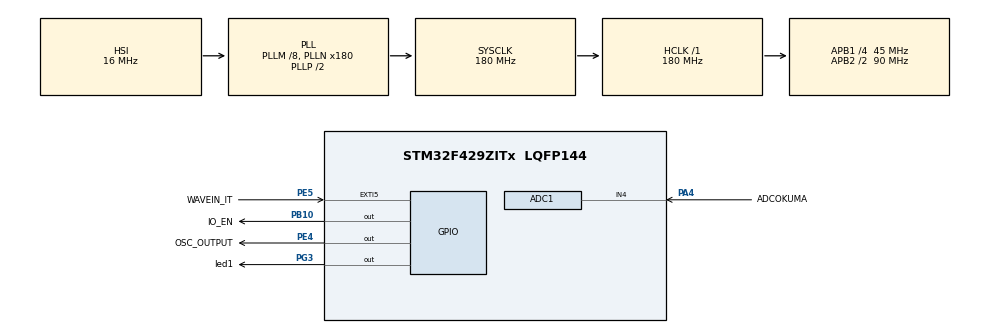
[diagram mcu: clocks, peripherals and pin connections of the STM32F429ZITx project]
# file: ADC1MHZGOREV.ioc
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ADC1.Channel-0\#ChannelRegularConversion=ADC_CHANNEL_4
ADC1.ContinuousConvMode=ENABLE
ADC1.NbrOfConversionFlag=1
ADC1.Rank-0\#ChannelRegularConversion=1
ADC1.SamplingTime-0\#ChannelRegularConversion=ADC_SAMPLETIME_3CYCLES
ADC1.master=1
Mcu.Family=STM32F4
Mcu.Name=STM32F429ZITx
Mcu.Package=LQFP144
NVIC.EXTI9_5_IRQn=true\:0\:0\:false\:false\:true\:true\:true\:true
NVIC.PriorityGroup=NVIC_PRIORITYGROUP_4
PA4.GPIO_Label=ADCOKUMA
PA4.Signal=ADCx_IN4
PB10.GPIO_Label=IO_EN
PB10.Signal=GPIO_Output
PE4.GPIO_Label=OSC_OUTPUT
PE4.PinState=GPIO_PIN_SET
PE4.Signal=GPIO_Output
PE5.GPIO_Label=WAVEIN_IT
PE5.GPIO_ModeDefaultEXTI=GPIO_MODE_IT_RISING_FALLING
PE5.Signal=GPXTI5
PG3.GPIO_Label=led1
PG3.Signal=GPIO_Output
ProjectManager.HeapSize=0x200
ProjectManager.StackSize=0x400
ProjectManager.TargetToolchain=STM32CubeIDE
RCC.48MHZClocksFreq_Value=90000000
RCC.AHBFreq_Value=180000000
RCC.APB1CLKDivider=RCC_HCLK_DIV4
RCC.APB1Freq_Value=45000000
RCC.APB1TimFreq_Value=90000000
RCC.APB2CLKDivider=RCC_HCLK_DIV2
RCC.APB2Freq_Value=90000000
RCC.APB2TimFreq_Value=180000000
RCC.CortexFreq_Value=180000000
RCC.HCLKFreq_Value=180000000
RCC.HSE_VALUE=25000000
RCC.HSI_VALUE=16000000
RCC.LSE_VALUE=32768
RCC.PLLM=8
RCC.PLLN=180
RCC.SYSCLKFreq_VALUE=180000000
RCC.SYSCLKSource=RCC_SYSCLKSOURCE_PLLCLK
RCC.VCOOutputFreq_Value=360000000
SH.ADCx_IN4.0=ADC1_IN4,IN4
board=custom

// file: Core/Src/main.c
/* USER CODE BEGIN Header */
/**
  ******************************************************************************
  * @file           : main.c
  * @brief          : Main program body
  ******************************************************************************
  * @attention
  *
  * Copyright (c) 2026 STMicroelectronics.
  * All rights reserved.
  *
  * This software is licensed under terms that can be found in the LICENSE file
  * in the root directory of this software component.
  * If no LICENSE file comes with this software, it is provided AS-IS.
  *
  ******************************************************************************
  */
/* USER CODE END Header */
#include "main.h"

ADC_HandleTypeDef hadc1;

/* USER CODE BEGIN PV */
uint32_t adcval;
int tickcount = 1;
int finaltcount = 0;
uint32_t totadc; // signed yaplıabilir
uint32_t finaladc;
uint32_t arrADC[200];

uint8_t current_state = 0;
uint8_t prev_state = 0;
/* USER CODE END PV */

void SystemClock_Config(void);
static void MX_GPIO_Init(void);
static void MX_ADC1_Init(void);

int main(void)
{

  /* MCU Configuration--------------------------------------------------------*/

  /* Reset of all peripherals, Initializes the Flash interface and the Systick. */
  HAL_Init();

  /* Configure the system clock */
  SystemClock_Config();

  /* Initialize all configured peripherals */
  MX_GPIO_Init();
  MX_ADC1_Init();
  /* USER CODE BEGIN 2 */
  HAL_Delay(100);
  totadc = 0;
  /* USER CODE END 2 */

  /* Infinite loop */
  while (1)
  {

    /* USER CODE BEGIN 3 */
	  /*
	  current_state = HAL_GPIO_ReadPin(PULLINPUT_GPIO_Port, PULLINPUT_Pin);
	  if (current_state == 1 && prev_state == 0) {
			totadc = 0;
			finaltcount = tickcount;
			tickcount = 0;
		}
	  if(current_state){
		  HAL_ADC_Start(&hadc1);
		  if(HAL_ADC_PollForConversion(&hadc1, 10) == HAL_OK){
			  adcval = HAL_ADC_GetValue(&hadc1);
			  HAL_GPIO_WritePin(OSC_OUTPUT_GPIO_Port, OSC_OUTPUT_Pin,1);
			  if(UINT32_MAX - totadc < adcval){
				  totadc = 0;
				  tickcount = 0;
			  }
			  tickcount++;
			  totadc += adcval;
			  arrADC[tickcount] = adcval;

		  }
	  }
	  else{
		  HAL_GPIO_WritePin(OSC_OUTPUT_GPIO_Port, OSC_OUTPUT_Pin,0);
	  }
	  if(current_state && prev_state){
		  if(tickcount > 0){
			  finaladc = totadc / tickcount;
		  }
	  }
	  prev_state = current_state;
	  //HAL_GPIO_WritePin(OSC_OUTPUT_GPIO_Port, OSC_OUTPUT_Pin,0);
*/

  }

  /* USER CODE END 3 */
}

void SystemClock_Config(void)
{
  RCC_OscInitTypeDef RCC_OscInitStruct = {0};
  RCC_ClkInitTypeDef RCC_ClkInitStruct = {0};

  /** Configure the main internal regulator output voltage
  */
  __HAL_RCC_PWR_CLK_ENABLE();
  __HAL_PWR_VOLTAGESCALING_CONFIG(PWR_REGULATOR_VOLTAGE_SCALE1);

  /** Initializes the RCC Oscillators according to the specified parameters
  * in the RCC_OscInitTypeDef structure.
  */
  RCC_OscInitStruct.OscillatorType = RCC_OSCILLATORTYPE_HSI;
  RCC_OscInitStruct.HSIState = RCC_HSI_ON;
  RCC_OscInitStruct.HSICalibrationValue = RCC_HSICALIBRATION_DEFAULT;
  RCC_OscInitStruct.PLL.PLLState = RCC_PLL_ON;
  RCC_OscInitStruct.PLL.PLLSource = RCC_PLLSOURCE_HSI;
  RCC_OscInitStruct.PLL.PLLM = 8;
  RCC_OscInitStruct.PLL.PLLN = 180;
  RCC_OscInitStruct.PLL.PLLP = RCC_PLLP_DIV2;
  RCC_OscInitStruct.PLL.PLLQ = 4;
  if (HAL_RCC_OscConfig(&RCC_OscInitStruct) != HAL_OK)
  {
    Error_Handler();
  }

  /** Activate the Over-Drive mode
  */
  if (HAL_PWREx_EnableOverDrive() != HAL_OK)
  {
    Error_Handler();
  }

  /** Initializes the CPU, AHB and APB buses clocks
  */
  RCC_ClkInitStruct.ClockType = RCC_CLOCKTYPE_HCLK|RCC_CLOCKTYPE_SYSCLK
                              |RCC_CLOCKTYPE_PCLK1|RCC_CLOCKTYPE_PCLK2;
  RCC_ClkInitStruct.SYSCLKSource = RCC_SYSCLKSOURCE_PLLCLK;
  RCC_ClkInitStruct.AHBCLKDivider = RCC_SYSCLK_DIV1;
  RCC_ClkInitStruct.APB1CLKDivider = RCC_HCLK_DIV4;
  RCC_ClkInitStruct.APB2CLKDivider = RCC_HCLK_DIV2;

  if (HAL_RCC_ClockConfig(&RCC_ClkInitStruct, FLASH_LATENCY_5) != HAL_OK)
  {
    Error_Handler();
  }
}

static void MX_ADC1_Init(void)
{

  ADC_ChannelConfTypeDef sConfig = {0};

  /** Configure the global features of the ADC (Clock, Resolution, Data Alignment and number of conversion)
  */
  hadc1.Instance = ADC1;
  hadc1.Init.ClockPrescaler = ADC_CLOCK_SYNC_PCLK_DIV4;
  hadc1.Init.Resolution = ADC_RESOLUTION_12B;
  hadc1.Init.ScanConvMode = DISABLE;
  hadc1.Init.ContinuousConvMode = ENABLE;
  hadc1.Init.DiscontinuousConvMode = DISABLE;
  hadc1.Init.ExternalTrigConvEdge = ADC_EXTERNALTRIGCONVEDGE_NONE;
  hadc1.Init.ExternalTrigConv = ADC_SOFTWARE_START;
  hadc1.Init.DataAlign = ADC_DATAALIGN_RIGHT;
  hadc1.Init.NbrOfConversion = 1;
  hadc1.Init.DMAContinuousRequests = DISABLE;
  hadc1.Init.EOCSelection = ADC_EOC_SINGLE_CONV;
  if (HAL_ADC_Init(&hadc1) != HAL_OK)
  {
    Error_Handler();
  }

  /** Configure for the selected ADC regular channel its corresponding rank in the sequencer and its sample time.
  */
  sConfig.Channel = ADC_CHANNEL_4;
  sConfig.Rank = 1;
  sConfig.SamplingTime = ADC_SAMPLETIME_3CYCLES;
  if (HAL_ADC_ConfigChannel(&hadc1, &sConfig) != HAL_OK)
  {
    Error_Handler();
  }

}

static void MX_GPIO_Init(void)
{
  GPIO_InitTypeDef GPIO_InitStruct = {0};

  /* GPIO Ports Clock Enable */
  __HAL_RCC_GPIOE_CLK_ENABLE();
  __HAL_RCC_GPIOA_CLK_ENABLE();
  __HAL_RCC_GPIOB_CLK_ENABLE();
  __HAL_RCC_GPIOG_CLK_ENABLE();

  /*Configure GPIO pin Output Level */
  HAL_GPIO_WritePin(OSC_OUTPUT_GPIO_Port, OSC_OUTPUT_Pin, GPIO_PIN_SET);

  /*Configure GPIO pin Output Level */
  HAL_GPIO_WritePin(IO_EN_GPIO_Port, IO_EN_Pin, GPIO_PIN_RESET);

  /*Configure GPIO pin Output Level */
  HAL_GPIO_WritePin(led1_GPIO_Port, led1_Pin, GPIO_PIN_RESET);

  /*Configure GPIO pin : OSC_OUTPUT_Pin */
  GPIO_InitStruct.Pin = OSC_OUTPUT_Pin;
  GPIO_InitStruct.Mode = GPIO_MODE_OUTPUT_PP;
  GPIO_InitStruct.Pull = GPIO_NOPULL;
  GPIO_InitStruct.Speed = GPIO_SPEED_FREQ_LOW;
  HAL_GPIO_Init(OSC_OUTPUT_GPIO_Port, &GPIO_InitStruct);

  /*Configure GPIO pin : WAVEIN_IT_Pin */
  GPIO_InitStruct.Pin = WAVEIN_IT_Pin;
  GPIO_InitStruct.Mode = GPIO_MODE_IT_RISING_FALLING;
  GPIO_InitStruct.Pull = GPIO_NOPULL;
  HAL_GPIO_Init(WAVEIN_IT_GPIO_Port, &GPIO_InitStruct);

  /*Configure GPIO pin : IO_EN_Pin */
  GPIO_InitStruct.Pin = IO_EN_Pin;
  GPIO_InitStruct.Mode = GPIO_MODE_OUTPUT_PP;
  GPIO_InitStruct.Pull = GPIO_NOPULL;
  GPIO_InitStruct.Speed = GPIO_SPEED_FREQ_LOW;
  HAL_GPIO_Init(IO_EN_GPIO_Port, &GPIO_InitStruct);

  /*Configure GPIO pin : led1_Pin */
  GPIO_InitStruct.Pin = led1_Pin;
  GPIO_InitStruct.Mode = GPIO_MODE_OUTPUT_PP;
  GPIO_InitStruct.Pull = GPIO_NOPULL;
  GPIO_InitStruct.Speed = GPIO_SPEED_FREQ_LOW;
  HAL_GPIO_Init(led1_GPIO_Port, &GPIO_InitStruct);

  /* EXTI interrupt init*/
  HAL_NVIC_SetPriority(EXTI9_5_IRQn, 0, 0);
  HAL_NVIC_EnableIRQ(EXTI9_5_IRQn);

}

/* USER CODE BEGIN 4 */

void HAL_GPIO_EXTI_Callback(uint16_t GPIO_Pin){

	if(GPIO_Pin == WAVEIN_IT_Pin){
        // Yükselen kenar kontrolü (Noktalı virgül YOK, doğrudan IDR register okuması)
		if(WAVEIN_IT_GPIO_Port->IDR & WAVEIN_IT_Pin){
			// Çıkışı HIGH yap (BSRR ile nanosaniye hızında)
			OSC_OUTPUT_GPIO_Port->BSRR = OSC_OUTPUT_Pin;
		}
		else{ // Düşen kenar
			// Çıkışı LOW yap (BSRR ile nanosaniye hızında)
			OSC_OUTPUT_GPIO_Port->BSRR = (uint32_t)OSC_OUTPUT_Pin << 16;
		}
	}
}
/* USER CODE END 4 */

void Error_Handler(void)
{
  __disable_irq();
  while (1)
  {
  }
}
